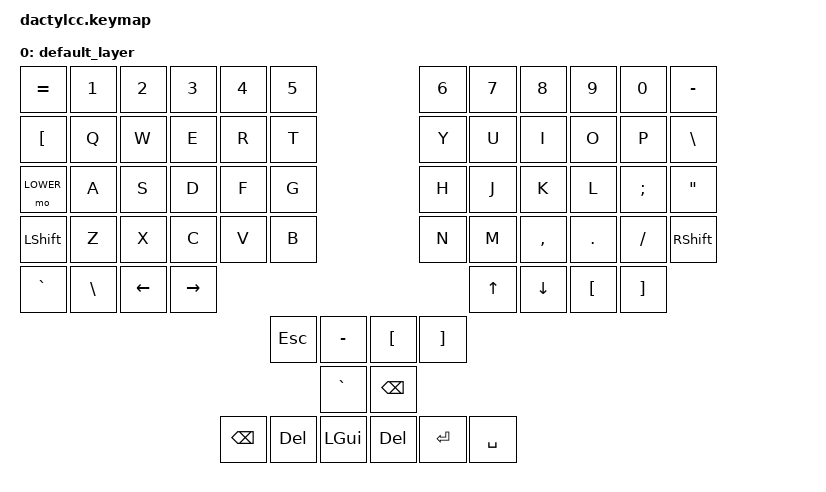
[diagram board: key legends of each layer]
#include <behaviors.dtsi>
#include <dt-bindings/zmk/keys.h>
#include <dt-bindings/zmk/bt.h>
#include <dt-bindings/zmk/outputs.h>

#define DEFAULT 0
#define MAC     1
#define LOWER   2
#define RAISE   3
#define ADJUST  4

#define HYPER(key) LS(LC(LA(LG(key))))
#define MEH(key)   LS(LC(LA(key)))

&sl {
    release-after-ms = <5000>;
};

&kscan0 {
    debounce-press-ms = <30>;
    debounce-release-ms = <30>;
};

/ {
    keymap {
        compatible = "zmk,keymap";

        default_layer {
            bindings = <
&kp EQUAL  &kp N1    &kp N2   &kp N3    &kp N4    &kp N5                             &kp N6    &kp N7    &kp N8    &kp N9    &kp N0   &kp MINUS
&kp LBKT   &kp Q     &kp W    &kp E     &kp R     &kp T                              &kp Y     &kp U     &kp I     &kp O     &kp P    &kp BSLH
&mo LOWER  &kp A     &kp S    &kp D     &kp F     &kp G                              &kp H     &kp J     &kp K     &kp L     &kp SEMI &kp DQT
&kp LSHFT  &kp Z     &kp X    &kp C     &kp V     &kp B                              &kp N     &kp M     &kp COMMA &kp DOT   &kp FSLH &kp RSHFT
     &kp GRAVE  &kp BSLH  &kp LEFT  &kp RIGHT                                                  &kp UP  &kp DOWN  &kp LBKT  &kp RBKT
                                                     &kp ESC &kp MINUS   &kp LBKT  &kp RBKT
                                                                &kp GRAVE   &kp BSPC
                                             &kp BSPC &kp DEL  &kp LGUI   &kp DEL   &kp RET   &kp SPACE
            >;
        };
    };
};
